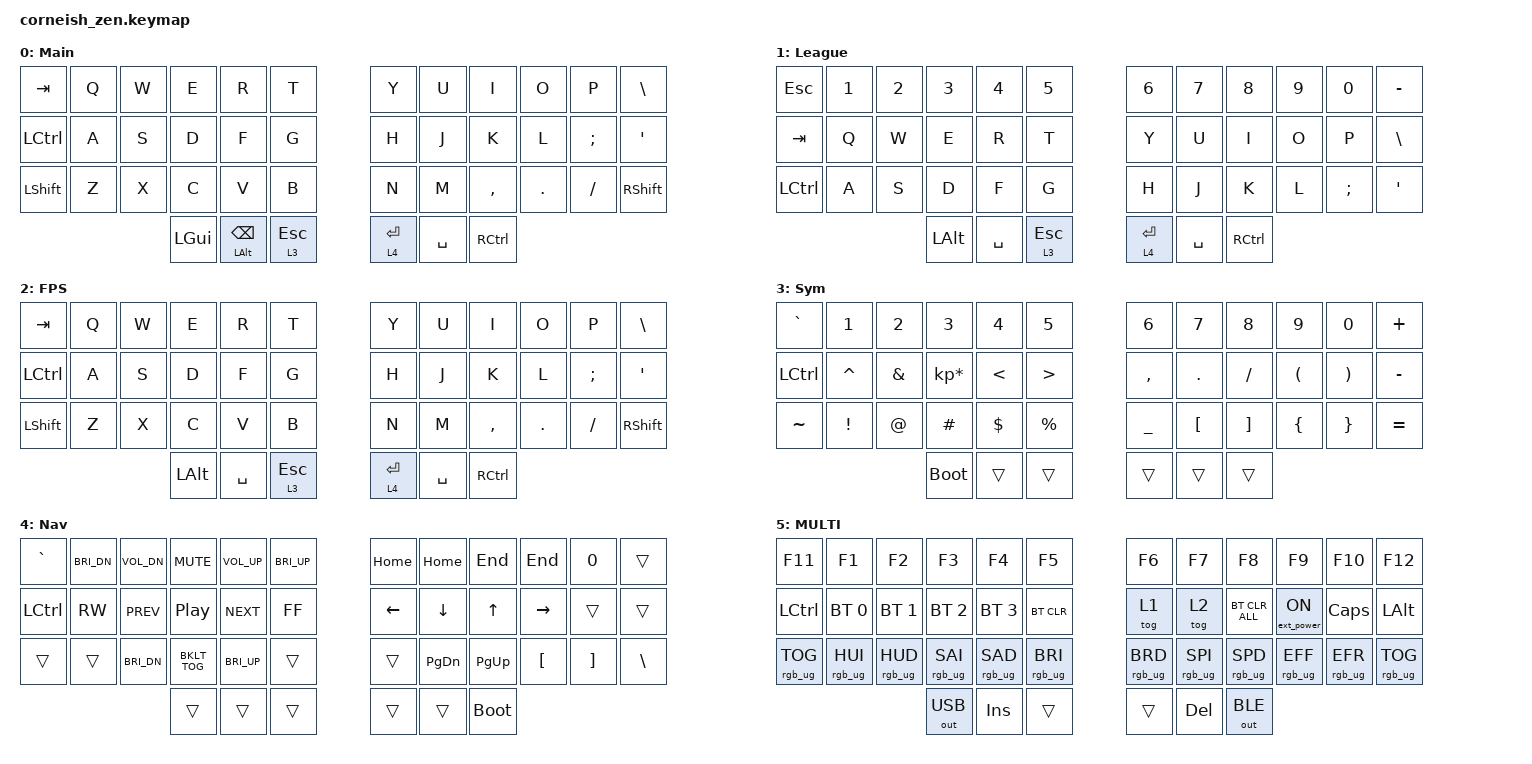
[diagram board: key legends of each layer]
// vim: filetype=cpp
/*
 * Copyright (c) 2020 The ZMK Contributors
 *
 * SPDX-License-Identifier: MIT
 */

#include <behaviors.dtsi>
#include <dt-bindings/zmk/bt.h>
#include <dt-bindings/zmk/ext_power.h>
#include <dt-bindings/zmk/keys.h>
#include <dt-bindings/zmk/outputs.h>
#include <dt-bindings/zmk/rgb.h>

/ {
    chosen {
        zmk,matrix_transform = &default_transform;

        // zmk,matrix_transform = &five_column_transform;
    };
};

/ {
    conditional_layers {
        compatible = "zmk,conditional-layers";
        tri_layer {
            if-layers = <3 4>;
            then-layer = <5>;
        };
    };
};

/* / {
    combos {
        compatible = "zmk,combos";
        combo_layer {
            timeout-ms = <50>;
            key-positions = <36 41>;
            bindings = <&mo 4>;
        };
    };
}; */

&lt {
  tapping-term-ms = <180>;
  quick_tap_ms = <0>;
  flavor = "hold-preferred";
};

&mt {
  tapping-term-ms = <150>;
  quick_tap_ms = <0>;
  flavor = "tap-preferred";
  // retro-tap;
};


/ {

  behaviors {
    hm: homerow_mods {
      compatible = "zmk,behavior-hold-tap";
      label = "HOMEROW_MODS";
      #binding-cells = <2>;
      tapping-term-ms = <150>;
      quick_tap_ms = <0>;
      flavor = "tap-preferred";
      bindings = <&kp>, <&kp>;
    };

  };


  keymap {
    compatible = "zmk,keymap";

    default_layer {
  /*
  *
  * ┌─────┬─────┬─────┬─────┬─────┬─────┐               ┌─────┬─────┬─────┬─────┬─────┬─────┐
  * │Tab  │  q  │  w  │  e  │  r  │  t  │               │  y  │  u  │  i  │  o  │  p  │  \  │
  * ├─────┼─────┼─────┼─────┼─────┼─────┤               ├─────┼─────┼─────┼─────┼─────┼─────┤
  * │LCTRL│  a  │  s  │  d  │  f  │  g  │               │  h  │  j  │  k  │  l  │  ;  │  '  │
  * ├─────┼─────┼─────┼─────┼─────┼─────┤               ├─────┼─────┼─────┼─────┼─────┼─────┤
  * │LSHFT│  z  │  x  │  c  │  v  │  b  │               │  n  │  m  │  ,  │  .  │  /  │RSHFT│
  * └─────┴─────┴─────┴───┬─┴───┬─┴───┬─┴───┐        ┌──┴──┬──┴──┬──┴──┬──┴─────┴─────┴─────┘
  *                       │LALT │GUI/B│ESC/2│        │RET/3│SPC  │RCTRL│
  *                       └─────┴─────┴─────┘        └─────┴─────┴─────┘
  */
    display-name = "Main";
      bindings = <
      &kp TAB   &kp Q  &kp W  &kp E   &kp R   &kp T                      &kp Y  &kp U  &kp I     &kp O   &kp P    &kp BSLH
      &kp LCTRL &kp A  &kp S  &kp D   &kp F   &kp G                      &kp H  &kp J  &kp K     &kp L   &kp SEMI &kp SQT
      &kp LSHFT &kp Z  &kp X  &kp C   &kp V   &kp B                      &kp N  &kp M  &kp COMMA &kp DOT &kp FSLH &kp RSHFT
                            &kp LGUI &mt LALT BSPC &lt 3 ESC      &lt 4 RET &kp SPACE &kp RCTRL
      >;

    };

    league_layer {

  /*
  * ┌─────┬─────┬─────┬─────┬─────┬─────┐               ┌─────┬─────┬─────┬─────┬─────┬─────┐
  * │Tab  │  q  │  w  │  e  │  r  │  t  │               │  y  │  u  │  i  │  o  │  p  │  \  │
  * ├─────┼─────┼─────┼─────┼─────┼─────┤               ├─────┼─────┼─────┼─────┼─────┼─────┤
  * │LCTRL│  a  │  s  │  d  │  f  │  g  │               │  h  │  j  │  k  │  l  │  ;  │  '  │
  * ├─────┼─────┼─────┼─────┼─────┼─────┤               ├─────┼─────┼─────┼─────┼─────┼─────┤
  * │LSHFT│  z  │  x  │  c  │  v  │  b  │               │  n  │  m  │  ,  │  .  │  /  │RSHFT│
  * └─────┴─────┴─────┴───┬─┴───┬─┴───┬─┴───┐        ┌──┴──┬──┴──┬──┴──┬──┴─────┴─────┴─────┘
  *                       │LALT │ SPC │ESC/2│        │RET/3│SPC  │RCTRL│
  *                       └─────┴─────┴─────┘        └─────┴─────┴─────┘
  */

    display-name = "League";
      bindings = <
      &kp ESC   &kp N1 &kp N2 &kp N3  &kp N4  &kp N5                     &kp N6 &kp N7 &kp N8  &kp N9  &kp N0   &kp MINUS
      &kp TAB   &kp Q  &kp W  &kp E   &kp R   &kp T                      &kp Y  &kp U  &kp I   &kp O   &kp P    &kp BSLH
      &kp LCTRL &kp A  &kp S  &kp D   &kp F   &kp G                      &kp H  &kp J  &kp K   &kp L   &kp SEMI &kp SQT
                             &kp LALT &kp SPACE  &lt 3 ESC      &lt 4 RET &kp SPACE   &kp RCTRL
      >;

    };

    gaming_layer {

  /*
  * ┌─────┬─────┬─────┬─────┬─────┬─────┐               ┌─────┬─────┬─────┬─────┬─────┬─────┐
  * │Tab  │  q  │  w  │  e  │  r  │  t  │               │  y  │  u  │  i  │  o  │  p  │  \  │
  * ├─────┼─────┼─────┼─────┼─────┼─────┤               ├─────┼─────┼─────┼─────┼─────┼─────┤
  * │LCTRL│  a  │  s  │  d  │  f  │  g  │               │  h  │  j  │  k  │  l  │  ;  │  '  │
  * ├─────┼─────┼─────┼─────┼─────┼─────┤               ├─────┼─────┼─────┼─────┼─────┼─────┤
  * │LSHFT│  z  │  x  │  c  │  v  │  b  │               │  n  │  m  │  ,  │  .  │  /  │RSHFT│
  * └─────┴─────┴─────┴───┬─┴───┬─┴───┬─┴───┐        ┌──┴──┬──┴──┬──┴──┬──┴─────┴─────┴─────┘
  *                       │LALT │ SPC │ESC/2│        │RET/3│SPC  │RCTRL│
  *                       └─────┴─────┴─────┘        └─────┴─────┴─────┘
  */

    display-name = "FPS";
      bindings = <
      &kp TAB   &kp Q  &kp W  &kp E   &kp R   &kp T                      &kp Y  &kp U  &kp I     &kp O   &kp P    &kp BSLH
      &kp LCTRL &kp A  &kp S  &kp D   &kp F   &kp G                      &kp H  &kp J  &kp K     &kp L   &kp SEMI &kp SQT
      &kp LSHFT &kp Z  &kp X  &kp C   &kp V   &kp B                      &kp N  &kp M  &kp COMMA &kp DOT &kp FSLH &kp RSHFT
                            &kp LALT &kp SPACE &lt 3 ESC      &lt 4 RET &kp SPACE &kp RCTRL
      >;

    };


    symbol_layer {

  /*
  * ┌─────┬─────┬─────┬─────┬─────┬─────┐               ┌─────┬─────┬─────┬─────┬─────┬─────┐
  * │  `  │  1  │  2  │  3  │  4  │  5  │               │  6  │  7  │  8  │  9  │  0  │  +  │
  * ├─────┼─────┼─────┼─────┼─────┼─────┤               ├─────┼─────┼─────┼─────┼─────┼─────┤
  * │LCTRL│  ^  │  &  │  *  │  <  │  >  │               │  ,  │  .  │  /  │  (  │  )  │  -  │
  * ├─────┼─────┼─────┼─────┼─────┼─────┤               ├─────┼─────┼─────┼─────┼─────┼─────┤
  * │LSHFT│  !  │  @  │  #  │  $  │  %  │               │  _  │  [  │  ]  │  {  │  }  │  =  │
  * └─────┴─────┴─────┴───┬─┴───┬─┴───┬─┴───┐        ┌──┴──┬──┴──┬──┴──┬──┴─────┴─────┴─────┘
  *                       │LALT │MO3  │LGUI │        │RET/3│SPC  │RALT │
  *                       └─────┴─────┴─────┘        └─────┴─────┴─────┘
      */

    display-name = "Sym";
      bindings = <
      &kp GRAVE &kp N1    &kp N2   &kp N3          &kp N4     &kp N5         &kp N6    &kp N7    &kp N8   &kp N9   &kp N0    &kp PLUS
      &kp LCTRL &kp CARET &kp AMPS &kp KP_MULTIPLY &kp LT     &kp GT         &kp COMMA &kp DOT   &kp FSLH &kp LPAR &kp RPAR  &kp MINUS
      &kp TILDE &kp EXCL  &kp AT   &kp HASH        &kp DOLLAR &kp PRCNT      &kp UNDER &kp LBKT  &kp RBKT &kp LBRC &kp RBRC  &kp EQUAL
                                      &bootloader    &trans   &trans    &trans   &trans    &trans    
      >;

    };

    navigation_layer {

  /*
  * ┌─────┬─────┬─────┬─────┬─────┬─────┐               ┌─────┬─────┬─────┬─────┬─────┬─────┐
  * │TAB  │BR_DN│VL_DN│VL_MT│VL_UP│BR_UP│               │HOME │PG_DN│PG_UP│END  │  0  │BSPC │
  * ├─────┼─────┼─────┼─────┼─────┼─────┤               ├─────┼─────┼─────┼─────┼─────┼─────┤
  * │LCTRL│RW   │PREV │PAUSE│NEXT │FF   │               │LEFT │DOWN │UP   │RIGHT│  ;  │  '  │
  * ├─────┼─────┼─────┼─────┼─────┼─────┤               ├─────┼─────┼─────┼─────┼─────┼─────┤
  * │LSHFT│  Z  │BR_DN│BL_TG│BR_UP│trans│               │  N  │  M  │  ,  │  .  │  /  │RSHFT│
  * └─────┴─────┴─────┴───┬─┴───┬─┴───┬─┴───┐        ┌──┴──┬──┴──┬──┴──┬──┴─────┴─────┴─────┘
  *                       │LALT │MO3  │LGUI │        │RET/3│SPC  │RALT │
  *                       └─────┴─────┴─────┘        └─────┴─────┴─────┘
      */

    display-name = "Nav";
      bindings = <
      &kp GRAVE  &kp C_BRI_DN &kp C_VOL_DN  &kp C_MUTE  &kp C_VOL_UP &kp C_BRI_UP     &kp HOME  &kp HOME &kp END &kp END   &kp N0  &trans
      &kp LCTRL  &kp C_RW &kp C_PREV &kp C_PLAY_PAUSE &kp C_NEXT &kp C_FF       &kp LEFT  &kp DOWN  &kp UP    &kp RIGHT &trans  &trans
      &trans     &trans   &kp C_BRI_DN &kp C_BKLT_TOG &kp C_BRI_UP &trans &trans &kp PG_DN &kp PG_UP &kp LBKT &kp RBKT  &kp BSLH
                                   &trans  &trans  &trans    &trans      &trans    &bootloader
      >;
    };

    layer_switching_layer {

  /*
  * ┌─────┬─────┬─────┬─────┬─────┬─────┐               ┌─────┬─────┬─────┬─────┬─────┬─────┐
  * │TAB  │  Q  │VL_DN│VL_MT│VL_UP│trans│               │HOME │PG_DN│PG_UP│END  │  0  │BSPC │
  * ├─────┼─────┼─────┼─────┼─────┼─────┤               ├─────┼─────┼─────┼─────┼─────┼─────┤
  * │LCTRL│RW   │PREV │PAUSE│NEXT │FF   │               │LEFT │DOWN │UP   │RIGHT│  ;  │  '  │
  * ├─────┼─────┼─────┼─────┼─────┼─────┤               ├─────┼─────┼─────┼─────┼─────┼─────┤
  * │LSHFT│  Z  │BR_DN│BL_TG│BR_UP│trans│               │  N  │  M  │  ,  │  .  │  /  │RSHFT│
  * └─────┴─────┴─────┴───┬─┴───┬─┴───┬─┴───┐        ┌──┴──┬──┴──┬──┴──┬──┴─────┴─────┴─────┘
  *                       │ ALT │MO3  │LGUI │        │RET/3│SPC  │RALT │     
  *                       └─────┴─────┴─────┘        └─────┴─────┴─────┘
      */

    display-name = "MULTI";
      bindings = <
      &kp F11    &kp F1       &kp F2        &kp F3       &kp F4       &kp F5          &kp F6  &kp F7 &kp F8  &kp F9      &kp F10 &kp F12
      &kp LCTRL  &bt BT_SEL 0 &bt BT_SEL 1  &bt BT_SEL 2 &bt BT_SEL 3 &bt BT_CLR  &tog 1  &tog 2 &bt BT_CLR_ALL &ext_power EP_ON &kp CAPS  &kp LALT
      &rgb_ug RGB_TOG &rgb_ug RGB_HUI &rgb_ug RGB_HUD &rgb_ug RGB_SAI &rgb_ug RGB_SAD &rgb_ug RGB_BRI &rgb_ug RGB_BRD &rgb_ug RGB_SPI &rgb_ug RGB_SPD &rgb_ug RGB_EFF &rgb_ug RGB_EFR &rgb_ug RGB_TOG     
                                   &out OUT_USB  &kp INS  &trans    &trans   &kp DEL  &out OUT_BLE 
      >;
    };

  };
};
